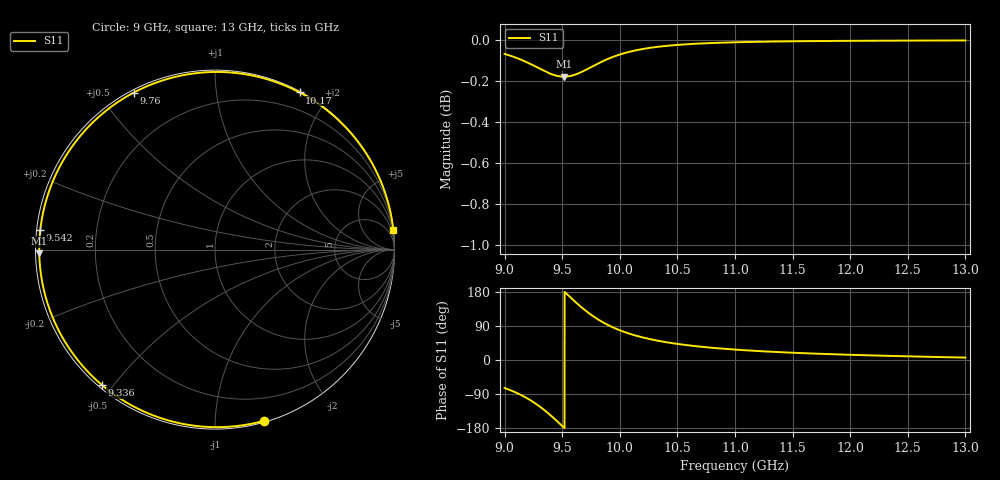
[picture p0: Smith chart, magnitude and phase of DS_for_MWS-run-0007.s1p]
! TOUCHSTONE file generated by CST DESIGN STUDIO
! Date and time: Tue Feb  4 15:48:33 2025
! Project name: C:\Work\MatlabApps\UnitCellOptimizationMatlab\CST\unitcell.cst
! Tree item: Tasks\Sweep1\SPara1\S-Parameters
! Header version: 2024
! Port assignment regex: !\s*Touchstone port\s*([0-9]+)\s*=\s*(CST MWS port|CST DES external port|CST DES block port)\s*(.+)\s* \(\"(.*)\"\)(\s*mode\s*([0-9]+))?.*
! Touchstone port assignment:
! Touchstone port 1 = CST DES external port 1 ("")
# GHz S MA R 50
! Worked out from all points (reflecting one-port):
!   4001 points, 9 GHz to 13 GHz, reference 50 ohm
!   lowest |S11| = -0.2 dB at 9.516 GHz (marker M1), VSWR 96.57, Z = 0.518 - j0.51 ohm
!   phase of S11 starts at -74 deg and turns -280 deg over the sweep
!   S11 on the Smith chart (normalised r, x): 9 GHz: 0.01, -1.33; 9.336 GHz: 0.01, -0.47; 9.542 GHz: 0.01, +0.06; 9.76 GHz: 0.01, +0.61; 10.17 GHz: 0.01, +1.67; 13 GHz: 0, +18
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9  0.992 -73.9
9.091  0.9902 -84.9
9.195  0.9874 -100.9
9.269  0.9851 -115.0
9.336  0.9829 -130.0
9.38  0.9816 -141.0
9.426  0.9805 -153.2
9.464  0.9798 -163.9
9.5  0.9795 -174.2
9.516  0.9795 -178.8
9.542  0.9796 173.6
9.596  0.9803 158.2
9.657  0.9818 141.7
9.708  0.9834 129.1
9.76  0.9851 117.4
9.81  0.9867 107.3
9.865  0.9884 97.5
10  0.9917 78.4
10.082  0.9932 69.6
10.171  0.9945 61.7
10.321  0.996 51.4
10.5  0.9971 42.4
10.722  0.9979 34.5
11  0.9986 27.5
11.5  0.9991 19.2
12  0.9994 13.7
12.5  0.9995 9.7
13  0.9996 6.4
